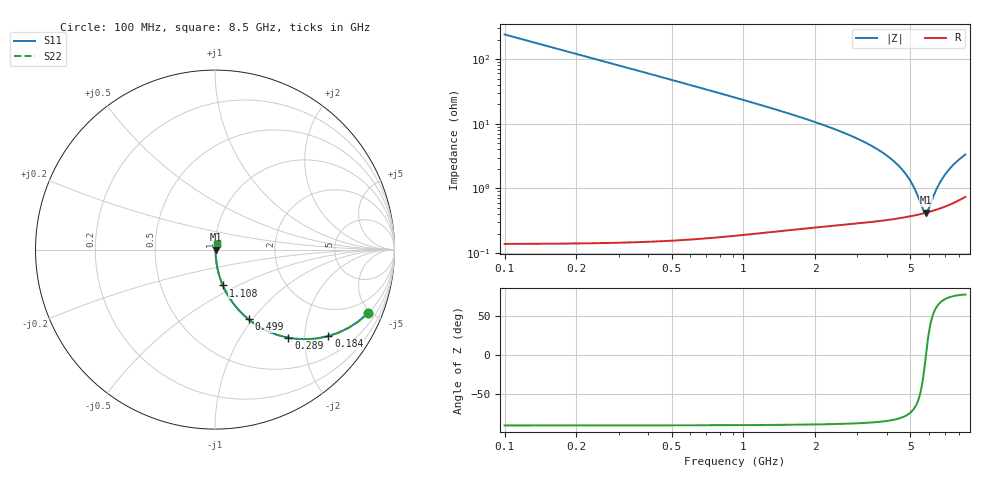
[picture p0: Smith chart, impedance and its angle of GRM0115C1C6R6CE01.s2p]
!Murata Part Number: GRM0115C1C6R6CE01
!These Parameters are Measured in Series Mode Connection
!Data Generated on Mar 30, 2021
!  o--ll--o
!Port1  Port2
!  o------o
!Operation Temp=25[degC], DC Bias Voltage=0[V]
!Freq. Start=100[MHz] Stop=9[GHz] 401[Steps]
# Hz S RI R 50
!Freq.(Hz) S11(Real) S11(Imag) S21(Real) S21(Imag) S12(Real) S12(Imag) S22(Real) S22(Imag)
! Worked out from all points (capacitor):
!   401 points, 100 MHz to 8.5 GHz, reference 50 ohm
!   read as one part in series: C = 6.6 pF near 142 MHz
!   lowest |Z| = 419 mohm at 5.791 GHz (marker M1)
!   series resonance near 5.811 GHz, so ESL is about 110 pH
!   S11 on the Smith chart (normalised r, x): 100 MHz: 1.00, -4.82; 184 MHz: 1.00, -2.62; 289 MHz: 1.00, -1.66; 499 MHz: 1.00, -0.96; 1.108 GHz: 1.00, -0.42; 8.5 GHz: 1.01, +0.07
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1e8  0.853 -0.3538  0.147 0.3538  0.147 0.3538  0.853 -0.3538
1.84e8  0.6314 -0.4819  0.3686 0.4819  0.3686 0.4819  0.6314 -0.4819
2.89e8  0.4093 -0.4908  0.5907 0.4908  0.5907 0.4908  0.4093 -0.4908
3.94e8  0.271 -0.4432  0.729 0.4432  0.729 0.4432  0.271 -0.4432
4.99e8  0.1876 -0.3888  0.8124 0.3888  0.8124 0.3888  0.1876 -0.3888
7.3e8  0.0966 -0.2928  0.9034 0.2928  0.9034 0.2928  0.0966 -0.2928
1.108e9  0.0437 -0.1997  0.9563 0.1997  0.9563 0.1997  0.0437 -0.1997
1.507e9  0.0237 -0.1449  0.9763 0.1449  0.9763 0.1449  0.0237 -0.1449
2.914e9  0.00659 -0.0612  0.9934 0.0612  0.9934 0.0612  0.00659 -0.0612
3.733e9  0.00454 -0.0376  0.9955 0.0376  0.9955 0.0376  0.00454 -0.0376
4.3e9  0.00398 -0.0252  0.996 0.0252  0.996 0.0252  0.00398 -0.0252
4.699e9  0.00384 -0.0177  0.9962 0.0177  0.9962 0.0177  0.00384 -0.0177
5.035e9  0.00384 -0.0119  0.9962 0.0119  0.9962 0.0119  0.00384 -0.0119
5.266e9  0.00389 -0.00815  0.9961 0.00815  0.9961 0.00815  0.00389 -0.00815
5.707e9  0.0041 -0.0015  0.9959 0.0015  0.9959 0.0015  0.0041 -0.0015
5.791e9  0.00416 -0.000292  0.9958 0.000292  0.9958 0.000292  0.00416 -0.000292
5.938e9  0.00427 0.00178  0.9957 -0.00178  0.9957 -0.00178  0.00427 0.00178
6.295e9  0.00458 0.00662  0.9954 -0.00662  0.9954 -0.00662  0.00458 0.00662
6.547e9  0.00486 0.00989  0.9951 -0.00989  0.9951 -0.00989  0.00486 0.00989
7.114e9  0.00561 0.0169  0.9944 -0.0169  0.9944 -0.0169  0.00561 0.0169
7.744e9  0.0067 0.0241  0.9933 -0.0241  0.9933 -0.0241  0.0067 0.0241
8.5e9  0.00839 0.0321  0.9916 -0.0321  0.9916 -0.0321  0.00839 0.0321
